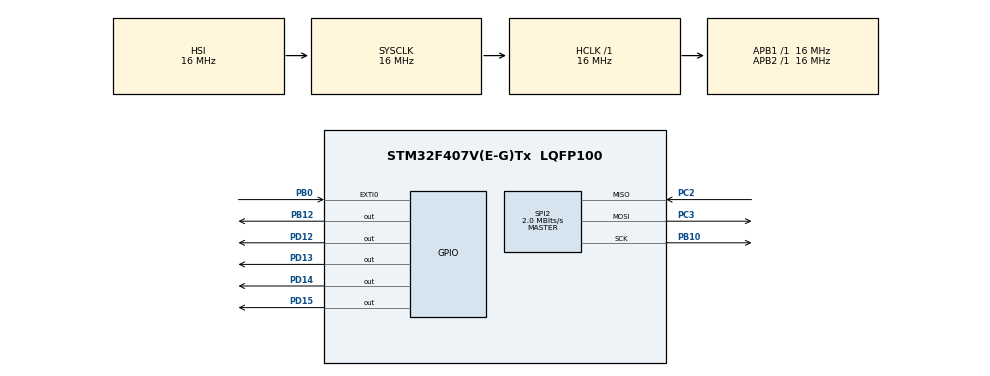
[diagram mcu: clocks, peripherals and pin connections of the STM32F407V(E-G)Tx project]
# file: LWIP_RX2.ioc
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Mcu.Family=STM32F4
Mcu.Name=STM32F407V(E-G)Tx
Mcu.Package=LQFP100
NVIC.EXTI0_IRQn=true\:0\:0\:false\:false\:true\:true\:true\:true
NVIC.PriorityGroup=NVIC_PRIORITYGROUP_4
PB0.GPIO_ModeDefaultEXTI=GPIO_MODE_IT_FALLING
PB0.GPIO_PuPd=GPIO_PULLUP
PB0.Signal=GPXTI0
PB10.GPIO_PuPd=GPIO_NOPULL
PB10.Mode=Full_Duplex_Master
PB10.Signal=SPI2_SCK
PB12.PinState=GPIO_PIN_SET
PB12.Signal=GPIO_Output
PC2.Mode=Full_Duplex_Master
PC2.Signal=SPI2_MISO
PC3.Mode=Full_Duplex_Master
PC3.Signal=SPI2_MOSI
PD12.Signal=GPIO_Output
PD13.Signal=GPIO_Output
PD14.Signal=GPIO_Output
PD15.Signal=GPIO_Output
ProjectManager.HeapSize=0x200
ProjectManager.StackSize=0x400
ProjectManager.TargetToolchain=STM32CubeIDE
RCC.AHBFreq_Value=16000000
RCC.APB1Freq_Value=16000000
RCC.APB2Freq_Value=16000000
RCC.CortexFreq_Value=16000000
RCC.HSE_VALUE=25000000
RCC.HSI_VALUE=16000000
RCC.LSE_VALUE=32768
RCC.SYSCLKFreq_VALUE=16000000
RCC.VCOOutputFreq_Value=192000000
SPI2.BaudRatePrescaler=SPI_BAUDRATEPRESCALER_8
SPI2.CalculateBaudRate=2.0 MBits/s
SPI2.Direction=SPI_DIRECTION_2LINES
SPI2.Mode=SPI_MODE_MASTER
SPI2.VirtualType=VM_MASTER
board=custom

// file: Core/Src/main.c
/* USER CODE BEGIN Header */
/**
  ******************************************************************************
  * @file           : main.c
  * @brief          : Main program body
  ******************************************************************************
  * @attention
  *
  * Copyright (c) 2026 STMicroelectronics.
  * All rights reserved.
  *
  * This software is licensed under terms that can be found in the LICENSE file
  * in the root directory of this software component.
  * If no LICENSE file comes with this software, it is provided AS-IS.
  *
  ******************************************************************************
  */
/* USER CODE END Header */
#include "main.h"

/* USER CODE BEGIN Includes */
#include <lwip.h>
#include "enc28j60.h"   //ENC28j60
#include "ethernetif.h"

/* USER CODE END Includes */

SPI_HandleTypeDef hspi2;

/* USER CODE BEGIN PV */
ENC_HandleTypeDef enc_handle;
static uint8_t enc_flag = 0;

extern struct netif gnetif;  //netif object

/* USER CODE END PV */

void SystemClock_Config(void);
static void MX_GPIO_Init(void);
static void MX_SPI2_Init(void);

int main(void)
{

  /* MCU Configuration--------------------------------------------------------*/

  /* Reset of all peripherals, Initializes the Flash interface and the Systick. */
  HAL_Init();

  /* Configure the system clock */
  SystemClock_Config();

  /* Initialize all configured peripherals */
  MX_GPIO_Init();
  MX_SPI2_Init();
  /* USER CODE BEGIN 2 */

  uint8_t mac[6] = {0x02, 0x12, 0x34, 0x56, 0x78, 0x9A};

  enc_handle.Init.MACAddr = mac;
  enc_handle.Init.DuplexMode = ETH_MODE_HALFDUPLEX;
  enc_handle.Init.ChecksumMode = ETH_CHECKSUM_BY_HARDWARE;
  enc_handle.Init.InterruptEnableBits = EIE_LINKIE | EIE_PKTIE;

  HAL_Delay(100);
  if (!enc_start(&enc_handle))
  {
      // ENC not detected → SPI / CS / wiring issue
      while (1);
  }

  enc_set_MAC(&enc_handle);

  /*Initialize lwIP stack*/
  //lwip_init();
  MX_LWIP_Init();

  /* USER CODE END 2 */

  /* Infinite loop */
  /* USER CODE BEGIN WHILE */
  while (1)
  {
	  if(enc_flag)
	  {
		  enc_flag = 0;
		  enc_irq_handler(&enc_handle);

		  //while(enc_get_received_frame(&enc_handle))
		  //{
			  ethernetif_input(&gnetif);
		  //}
		  enc_enable_interrupts(EIE_INTIE);
	  }

	  if(enc_handle.transmitLength > 0)
	  {
		  ethernet_transmit();
	  }
	  sys_check_timeouts();

    /* USER CODE END WHILE */

  }
}

void SystemClock_Config(void)
{
  RCC_OscInitTypeDef RCC_OscInitStruct = {0};
  RCC_ClkInitTypeDef RCC_ClkInitStruct = {0};

  /** Configure the main internal regulator output voltage
  */
  __HAL_RCC_PWR_CLK_ENABLE();
  __HAL_PWR_VOLTAGESCALING_CONFIG(PWR_REGULATOR_VOLTAGE_SCALE1);

  /** Initializes the RCC Oscillators according to the specified parameters
  * in the RCC_OscInitTypeDef structure.
  */
  RCC_OscInitStruct.OscillatorType = RCC_OSCILLATORTYPE_HSI;
  RCC_OscInitStruct.HSIState = RCC_HSI_ON;
  RCC_OscInitStruct.HSICalibrationValue = RCC_HSICALIBRATION_DEFAULT;
  RCC_OscInitStruct.PLL.PLLState = RCC_PLL_NONE;
  if (HAL_RCC_OscConfig(&RCC_OscInitStruct) != HAL_OK)
  {
    Error_Handler();
  }

  /** Initializes the CPU, AHB and APB buses clocks
  */
  RCC_ClkInitStruct.ClockType = RCC_CLOCKTYPE_HCLK|RCC_CLOCKTYPE_SYSCLK
                              |RCC_CLOCKTYPE_PCLK1|RCC_CLOCKTYPE_PCLK2;
  RCC_ClkInitStruct.SYSCLKSource = RCC_SYSCLKSOURCE_HSI;
  RCC_ClkInitStruct.AHBCLKDivider = RCC_SYSCLK_DIV1;
  RCC_ClkInitStruct.APB1CLKDivider = RCC_HCLK_DIV1;
  RCC_ClkInitStruct.APB2CLKDivider = RCC_HCLK_DIV1;

  if (HAL_RCC_ClockConfig(&RCC_ClkInitStruct, FLASH_LATENCY_0) != HAL_OK)
  {
    Error_Handler();
  }
}

static void MX_SPI2_Init(void)
{

  /* SPI2 parameter configuration*/
  hspi2.Instance = SPI2;
  hspi2.Init.Mode = SPI_MODE_MASTER;
  hspi2.Init.Direction = SPI_DIRECTION_2LINES;
  hspi2.Init.DataSize = SPI_DATASIZE_8BIT;
  hspi2.Init.CLKPolarity = SPI_POLARITY_LOW;
  hspi2.Init.CLKPhase = SPI_PHASE_1EDGE;
  hspi2.Init.NSS = SPI_NSS_SOFT;
  hspi2.Init.BaudRatePrescaler = SPI_BAUDRATEPRESCALER_8;
  hspi2.Init.FirstBit = SPI_FIRSTBIT_MSB;
  hspi2.Init.TIMode = SPI_TIMODE_DISABLE;
  hspi2.Init.CRCCalculation = SPI_CRCCALCULATION_DISABLE;
  hspi2.Init.CRCPolynomial = 10;
  if (HAL_SPI_Init(&hspi2) != HAL_OK)
  {
    Error_Handler();
  }

}

static void MX_GPIO_Init(void)
{
  GPIO_InitTypeDef GPIO_InitStruct = {0};

  /* GPIO Ports Clock Enable */
  __HAL_RCC_GPIOC_CLK_ENABLE();
  __HAL_RCC_GPIOB_CLK_ENABLE();
  __HAL_RCC_GPIOD_CLK_ENABLE();

  /*Configure GPIO pin Output Level */
  HAL_GPIO_WritePin(GPIOB, GPIO_PIN_12, GPIO_PIN_SET);

  /*Configure GPIO pin Output Level */
  HAL_GPIO_WritePin(GPIOD, GPIO_PIN_12|GPIO_PIN_13|GPIO_PIN_14|GPIO_PIN_15, GPIO_PIN_RESET);

  /*Configure GPIO pin : PB0 */
  GPIO_InitStruct.Pin = GPIO_PIN_0;
  GPIO_InitStruct.Mode = GPIO_MODE_IT_FALLING;
  GPIO_InitStruct.Pull = GPIO_PULLUP;
  HAL_GPIO_Init(GPIOB, &GPIO_InitStruct);

  /*Configure GPIO pin : PB12 */
  GPIO_InitStruct.Pin = GPIO_PIN_12;
  GPIO_InitStruct.Mode = GPIO_MODE_OUTPUT_PP;
  GPIO_InitStruct.Pull = GPIO_NOPULL;
  GPIO_InitStruct.Speed = GPIO_SPEED_FREQ_LOW;
  HAL_GPIO_Init(GPIOB, &GPIO_InitStruct);

  /*Configure GPIO pins : PD12 PD13 PD14 PD15 */
  GPIO_InitStruct.Pin = GPIO_PIN_12|GPIO_PIN_13|GPIO_PIN_14|GPIO_PIN_15;
  GPIO_InitStruct.Mode = GPIO_MODE_OUTPUT_PP;
  GPIO_InitStruct.Pull = GPIO_NOPULL;
  GPIO_InitStruct.Speed = GPIO_SPEED_FREQ_LOW;
  HAL_GPIO_Init(GPIOD, &GPIO_InitStruct);

  /* EXTI interrupt init*/
  HAL_NVIC_SetPriority(EXTI0_IRQn, 0, 0);
  HAL_NVIC_EnableIRQ(EXTI0_IRQn);

}

/* USER CODE BEGIN 4 */
void HAL_GPIO_EXTI_Callback(uint16_t GPIO_Pin)
{
	if(GPIO_Pin == GPIO_PIN_0)
	{
		enc_flag = 1;
		HAL_GPIO_TogglePin(GPIOD, GPIO_PIN_13);  //Ethernet frame reached ENC
	}

}
/* USER CODE END 4 */

void Error_Handler(void)
{
  __disable_irq();
  while (1)
  {
  }
}
